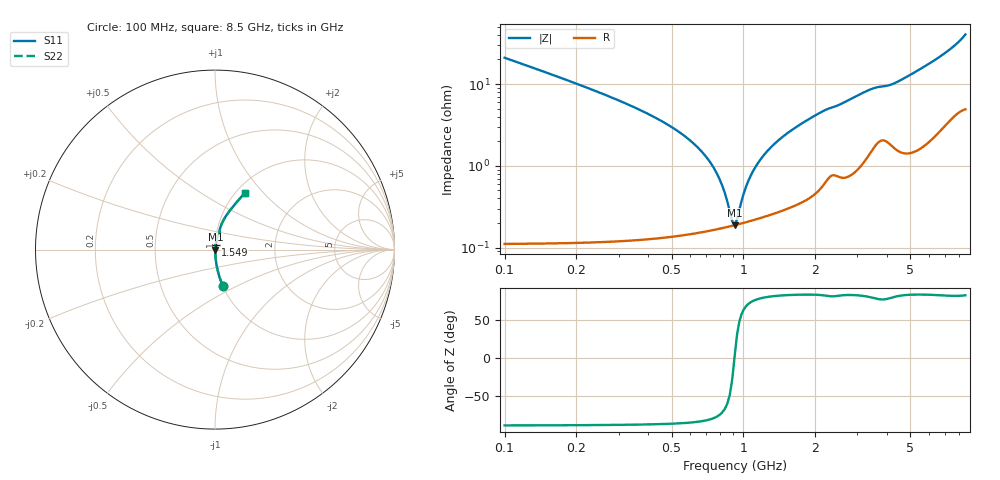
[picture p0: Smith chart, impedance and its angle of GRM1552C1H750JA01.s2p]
!Murata Part Number: GRM1552C1H750JA01
!These Parameters are Measured in Series Mode Connection
!Data Generated on Mar 30, 2021
!  o--ll--o
!Port1  Port2
!  o------o
!Operation Temp=25[degC], DC Bias Voltage=0[V]
!Freq. Start=100[MHz] Stop=9[GHz] 401[Steps]
# Hz S RI R 50
!Freq.(Hz) S11(Real) S11(Imag) S21(Real) S21(Imag) S12(Real) S12(Imag) S22(Real) S22(Imag)
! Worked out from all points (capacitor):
!   401 points, 100 MHz to 8.5 GHz, reference 50 ohm
!   read as one part in series: C = 75 pF near 142 MHz
!   lowest |Z| = 188 mohm at 919 MHz (marker M1)
!   series resonance near 917.4 MHz, so ESL is about 400 pH
!   S11 on the Smith chart (normalised r, x): 100 MHz: 1.00, -0.42; 1.549 GHz: 1.01, +0.05; 8.5 GHz: 1.10, +0.80
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1e8  0.0431 -0.2004  0.9569 0.2004  0.9569 0.2004  0.0431 -0.2004
2.68e8  0.00637 -0.0719  0.9936 0.0719  0.9936 0.0719  0.00637 -0.0719
5.83e8  0.00191 -0.0216  0.9981 0.0216  0.9981 0.0216  0.00191 -0.0216
6.88e8  0.00174 -0.0134  0.9983 0.0134  0.9983 0.0134  0.00174 -0.0134
7.72e8  0.00173 -0.00799  0.9983 0.00799  0.9983 0.00799  0.00173 -0.00799
8.14e8  0.00176 -0.00553  0.9982 0.00553  0.9982 0.00553  0.00176 -0.00553
8.77e8  0.00182 -0.00208  0.9982 0.00208  0.9982 0.00208  0.00182 -0.00208
8.98e8  0.00185 -0.000986  0.9982 0.000986  0.9982 0.000986  0.00185 -0.000986
9.19e8  0.00188 8.01e-05  0.9981 -8.01e-05  0.9981 -8.01e-05  0.00188 8.01e-05
9.61e8  0.00195 0.00214  0.9981 -0.00214  0.9981 -0.00214  0.00195 0.00214
1.045e9  0.00211 0.00602  0.9979 -0.00602  0.9979 -0.00602  0.00211 0.00602
1.15e9  0.00236 0.0105  0.9976 -0.0105  0.9976 -0.0105  0.00236 0.0105
1.297e9  0.00278 0.0163  0.9972 -0.0163  0.9972 -0.0163  0.00278 0.0163
1.507e9  0.00351 0.024  0.9965 -0.024  0.9965 -0.024  0.00351 0.024
1.549e9  0.00367 0.0255  0.9963 -0.0255  0.9963 -0.0255  0.00367 0.0255
2.116e9  0.00734 0.0445  0.9927 -0.0445  0.9927 -0.0445  0.00734 0.0445
2.914e9  0.0128 0.0673  0.9872 -0.0673  0.9872 -0.0673  0.0128 0.0673
3.481e9  0.0228 0.0834  0.9772 -0.0834  0.9772 -0.0834  0.0228 0.0834
4.3e9  0.0257 0.0971  0.9743 -0.0971  0.9743 -0.0971  0.0257 0.0971
5.707e9  0.0414 0.1524  0.9586 -0.1524  0.9586 -0.1524  0.0414 0.1524
7.114e9  0.084 0.2191  0.916 -0.2191  0.916 -0.2191  0.084 0.2191
8.5e9  0.1681 0.3176  0.8319 -0.3176  0.8319 -0.3176  0.1681 0.3176
